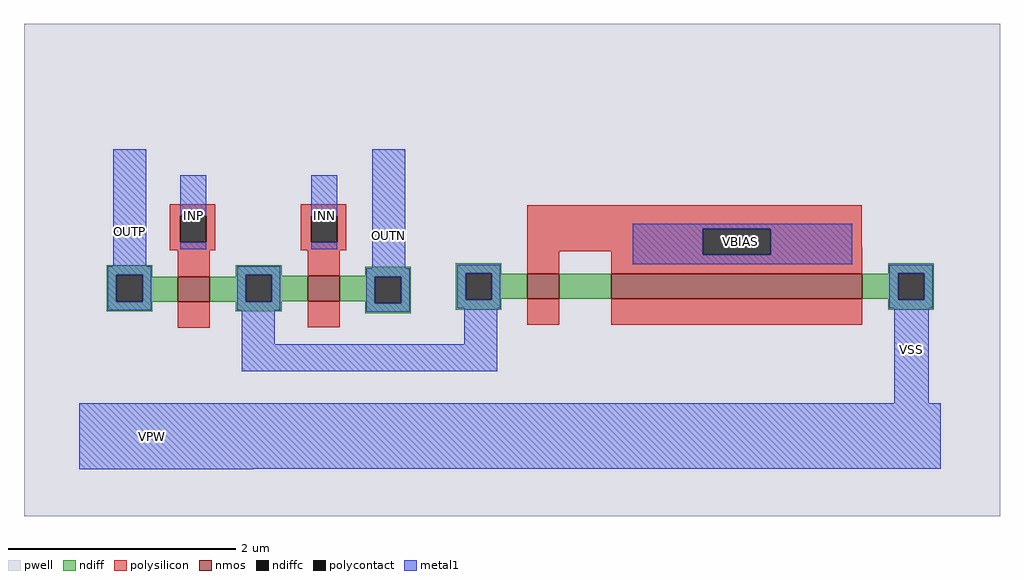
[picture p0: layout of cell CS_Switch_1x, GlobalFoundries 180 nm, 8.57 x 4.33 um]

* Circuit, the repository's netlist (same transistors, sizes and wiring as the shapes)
** sch_path: /home/ducluong/CS_DAC/xschem/CS_Switch_1x.sch
.subckt CS_Switch_1x OUTN OUTP INP INN VBIAS VSS
*.PININFO INP:I INN:I OUTP:O OUTN:O VBIAS:B VSS:B
M1 net1 VBIAS net2 VSS nfet_03v3 L=0.28u W=0.22u nf=1 m=1
M2 OUTN INN net1 VSS nfet_03v3 L=0.28u W=0.22u nf=1 m=1
M3 net2 VBIAS VSS VSS nfet_03v3 L=2.2u W=0.22u nf=1 m=1
M4 OUTP INP net1 VSS nfet_03v3 L=0.28u W=0.22u nf=1 m=1
.ends
.end

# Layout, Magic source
magic
tech gf180mcuD
magscale 1 10
<< pwell >>
rect -326 -1889 1387 -1024
<< nmos >>
rect -56 -1512 0 -1468
rect 172 -1511 228 -1467
rect 557 -1507 613 -1463
rect 705 -1507 1145 -1463
<< ndiff >>
rect -181 -1465 -101 -1448
rect -181 -1512 -164 -1465
rect -118 -1468 -101 -1465
rect 46 -1465 126 -1448
rect 46 -1468 63 -1465
rect -118 -1512 -56 -1468
rect 0 -1512 63 -1468
rect 109 -1467 126 -1465
rect 273 -1467 353 -1451
rect 109 -1511 172 -1467
rect 228 -1468 353 -1467
rect 228 -1511 290 -1468
rect 109 -1512 126 -1511
rect -181 -1529 -101 -1512
rect 46 -1529 126 -1512
rect 273 -1515 290 -1511
rect 336 -1515 353 -1468
rect 273 -1532 353 -1515
rect 432 -1462 512 -1445
rect 432 -1509 449 -1462
rect 495 -1463 512 -1462
rect 1191 -1462 1271 -1445
rect 1191 -1463 1208 -1462
rect 495 -1507 557 -1463
rect 613 -1507 705 -1463
rect 1145 -1507 1208 -1463
rect 495 -1509 512 -1507
rect 432 -1526 512 -1509
rect 1191 -1509 1208 -1507
rect 1254 -1509 1271 -1462
rect 1191 -1526 1271 -1509
<< ndiffc >>
rect -164 -1512 -118 -1465
rect 63 -1512 109 -1465
rect 290 -1515 336 -1468
rect 449 -1509 495 -1462
rect 1208 -1509 1254 -1462
<< polysilicon >>
rect -70 -1361 10 -1341
rect -70 -1408 -52 -1361
rect -6 -1408 10 -1361
rect -70 -1422 10 -1408
rect 160 -1361 240 -1341
rect 160 -1408 178 -1361
rect 224 -1408 240 -1361
rect 160 -1422 240 -1408
rect 557 -1384 1144 -1343
rect -56 -1468 0 -1422
rect 172 -1467 228 -1422
rect 557 -1424 865 -1384
rect -56 -1558 0 -1512
rect 172 -1557 228 -1511
rect 557 -1463 613 -1424
rect 705 -1430 865 -1424
rect 985 -1417 1144 -1384
rect 985 -1430 1145 -1417
rect 705 -1463 1145 -1430
rect 557 -1553 613 -1507
rect 705 -1553 1145 -1507
<< polycontact >>
rect -52 -1408 -6 -1361
rect 178 -1408 224 -1361
rect 865 -1430 985 -1384
<< metal1 >>
rect -169 -1450 -111 -1245
rect -52 -1361 -6 -1290
rect -52 -1420 -6 -1408
rect 178 -1361 224 -1290
rect 178 -1420 224 -1408
rect -179 -1465 -103 -1450
rect -179 -1512 -164 -1465
rect -118 -1512 -103 -1465
rect -179 -1527 -103 -1512
rect 48 -1465 124 -1450
rect 285 -1453 343 -1245
rect 742 -1384 1128 -1375
rect 742 -1430 865 -1384
rect 985 -1430 1128 -1384
rect 742 -1446 1128 -1430
rect 48 -1512 63 -1465
rect 109 -1512 124 -1465
rect 48 -1527 124 -1512
rect 275 -1468 351 -1453
rect 275 -1515 290 -1468
rect 336 -1515 351 -1468
rect 56 -1587 114 -1527
rect 275 -1530 351 -1515
rect 434 -1462 510 -1447
rect 434 -1509 449 -1462
rect 495 -1509 510 -1462
rect 434 -1524 510 -1509
rect 1193 -1462 1269 -1447
rect 1193 -1509 1208 -1462
rect 1254 -1509 1269 -1462
rect 1193 -1524 1269 -1509
rect 447 -1587 505 -1524
rect 56 -1634 505 -1587
rect 1201 -1690 1262 -1524
rect -229 -1805 1283 -1690
rect -229 -1806 76 -1805
<< labels >>
flabel metal1 -49 -1414 -9 -1307 1 FreeSans 400 0 0 0 INP
port 1 nsew signal input
flabel metal1 181 -1415 221 -1308 1 FreeSans 400 0 0 0 INN
port 2 nsew signal input
flabel metal1 -162 -1517 -118 -1261 1 FreeSans 400 0 0 0 OUTP
port 3 nsew power bidirectional
flabel metal1 291 -1524 335 -1268 1 FreeSans 400 0 0 0 OUTN
port 4 nsew power bidirectional
flabel metal1 766 -1433 1097 -1381 1 FreeSans 400 0 0 0 VBIAS
port 5 nsew power bidirectional
flabel metal1 1208 -1733 1255 -1458 1 FreeSans 400 0 0 0 VSS
port 7 nsew ground bidirectional
flabel pwell -219 -1801 19 -1695 1 FreeSans 400 0 0 0 VPW
port 8 nsew ground bidirectional
<< end >>
